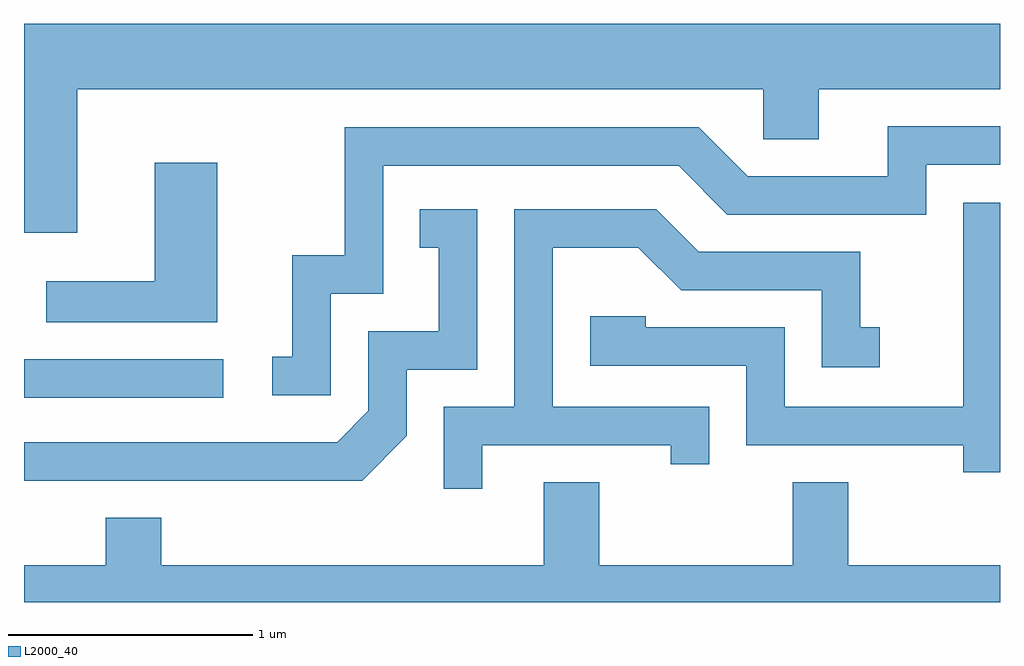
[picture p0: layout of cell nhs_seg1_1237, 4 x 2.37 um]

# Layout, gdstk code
import gdstk
lib = gdstk.Library(unit=1e-6, precision=1e-09)
def R(c, l, rs):  # rectangles x0, y0, x1, y1
    for r in rs: c.add(gdstk.rectangle(r[:2], r[2:], *l))
def P(c, l, *ps):  # polygons
    for p in ps: c.add(gdstk.Polygon(p, *l))
L2000_40 = (2000, 40)

nhs_seg1_1237 = lib.new_cell('nhs_seg1_1237')
R(nhs_seg1_1237, L2000_40, [(223.611,880.551,224.428,880.709)])
P(nhs_seg1_1237, L2000_40, [(223.829,881.816),(226.641,881.816),(226.641,881.611),(226.869,881.611),(226.869,881.816),(227.611,881.816),(227.611,882.084),(223.611,882.084),(223.611,881.226),(223.829,881.226)],
  [(224.869,880.976),(225.084,880.976),(225.084,881.501),(226.294,881.501),(226.494,881.301),(227.309,881.301),(227.309,881.506),(227.611,881.506),(227.611,881.664),(227.151,881.664),(227.151,881.459),(226.577,881.459),(226.377,881.659),(224.926,881.659),(224.926,881.134),(224.711,881.134),(224.711,880.719),(224.628,880.719),(224.628,880.561),(224.869,880.561)],
  [(224.404,881.514),(224.146,881.514),(224.146,881.029),(223.703,881.029),(223.703,880.861),(224.404,880.861)],
  [(227.611,881.349),(227.461,881.349),(227.461,880.514),(226.729,880.514),(226.729,880.839),(226.159,880.839),(226.159,880.884),(225.931,880.884),(225.931,880.681),(226.571,880.681),(226.571,880.356),(227.461,880.356),(227.461,880.246),(227.611,880.246)],
  [(225.179,880.394),(225.179,880.666),(225.469,880.666),(225.469,881.324),(225.233,881.324),(225.233,881.166),(225.311,881.166),(225.311,880.824),(225.021,880.824),(225.021,880.497),(224.894,880.369),(223.611,880.369),(223.611,880.211),(224.997,880.211)],
  [(225.489,880.356),(226.261,880.356),(226.261,880.278),(226.419,880.278),(226.419,880.514),(225.779,880.514),(225.779,881.166),(226.129,881.166),(226.304,880.991),(226.881,880.991),(226.881,880.676),(227.118,880.676),(227.118,880.839),(227.039,880.839),(227.039,881.149),(226.377,881.149),(226.202,881.324),(225.621,881.324),(225.621,880.514),(225.331,880.514),(225.331,880.178),(225.489,880.178)],
  [(227.611,879.864),(226.989,879.864),(226.989,880.204),(226.761,880.204),(226.761,879.864),(225.969,879.864),(225.969,880.204),(225.741,880.204),(225.741,879.864),(224.174,879.864),(224.174,880.059),(223.946,880.059),(223.946,879.864),(223.611,879.864),(223.611,879.712),(227.611,879.712)])

lib.write_gds('nhs_seg1_1237.gds')
